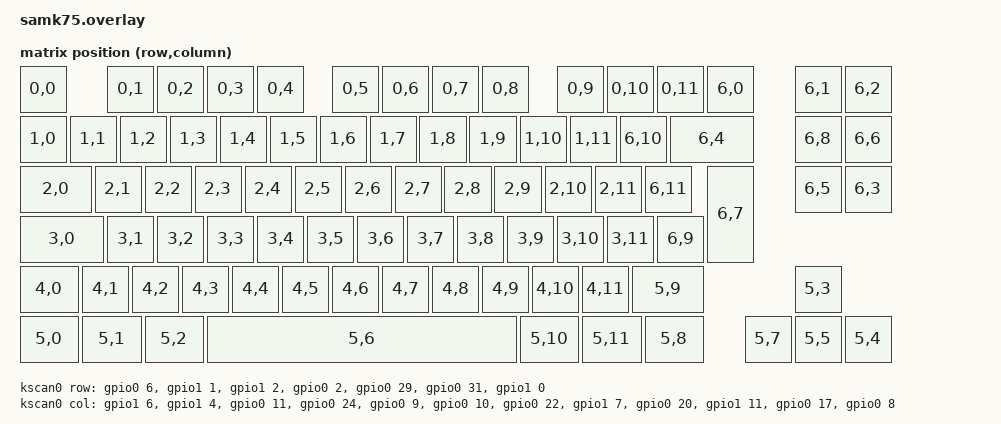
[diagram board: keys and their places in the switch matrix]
/*
 * Copyright (c) 2020 The ZMK Contributors
 *
 * SPDX-License-Identifier: MIT
 */

#include <dt-bindings/zmk/matrix_transform.h>

//#include <layouts/common/75percent/iso.dtsi>
#include <physical_layouts.dtsi>

/ {
    chosen {
        zmk,kscan = &kscan0;
        zmk,physical-layout = &physical_layout0;
    };

    kscan0: kscan {
        compatible = "zmk,kscan-gpio-matrix";
        wakeup-source;

        diode-direction = "row2col";
        row-gpios
            = <&gpio0 6 GPIO_ACTIVE_HIGH>
            , <&gpio1 1 GPIO_ACTIVE_HIGH>
            , <&gpio1 2 GPIO_ACTIVE_HIGH>
            , <&gpio0 2 GPIO_ACTIVE_HIGH>
            , <&gpio0 29 GPIO_ACTIVE_HIGH>
            , <&gpio0 31 GPIO_ACTIVE_HIGH>
            , <&gpio1 0 GPIO_ACTIVE_HIGH>
            ;
        col-gpios
            = <&gpio1 6 (GPIO_ACTIVE_HIGH | GPIO_PULL_DOWN)>
            , <&gpio1 4 (GPIO_ACTIVE_HIGH | GPIO_PULL_DOWN)>
            , <&gpio0 11 (GPIO_ACTIVE_HIGH | GPIO_PULL_DOWN)>
            , <&gpio0 24 (GPIO_ACTIVE_HIGH | GPIO_PULL_DOWN)>
            , <&gpio0 9 (GPIO_ACTIVE_HIGH | GPIO_PULL_DOWN)>
            , <&gpio0 10 (GPIO_ACTIVE_HIGH | GPIO_PULL_DOWN)>
            , <&gpio0 22 (GPIO_ACTIVE_HIGH | GPIO_PULL_DOWN)>
            , <&gpio1 7 (GPIO_ACTIVE_HIGH | GPIO_PULL_DOWN)>
            , <&gpio0 20 (GPIO_ACTIVE_HIGH | GPIO_PULL_DOWN)>
            , <&gpio1 11 (GPIO_ACTIVE_HIGH | GPIO_PULL_DOWN)>
            , <&gpio0 17 (GPIO_ACTIVE_HIGH | GPIO_PULL_DOWN)>
            , <&gpio0 8 (GPIO_ACTIVE_HIGH | GPIO_PULL_DOWN)>
            ;
    };

    default_transform: keymap_transform_0 {
        compatible = "zmk,matrix-transform";
        columns = <12>;
        rows = <7>;
        map = <
RC(0,0)   RC(0,1) RC(0,2) RC(0,3) RC(0,4)     RC(0,5) RC(0,6) RC(0,7) RC(0,8)     RC(0,9) RC(0,10) RC(0,11) RC(6,0)    RC(6,1) RC(6,2)
RC(1,0)   RC(1,1) RC(1,2) RC(1,3) RC(1,4) RC(1,5) RC(1,6) RC(1,7) RC(1,8) RC(1,9) RC(1,10) RC(1,11) RC(6,10) RC(6,4)   RC(6,8) RC(6,6)
RC(2,0)   RC(2,1) RC(2,2) RC(2,3) RC(2,4) RC(2,5) RC(2,6) RC(2,7) RC(2,8) RC(2,9) RC(2,10) RC(2,11) RC(6,11)           RC(6,5) RC(6,3)
RC(3,0)   RC(3,1) RC(3,2) RC(3,3) RC(3,4) RC(3,5) RC(3,6) RC(3,7) RC(3,8) RC(3,9) RC(3,10) RC(3,11) RC(6,9)   RC(6,7)
RC(4,0)   RC(4,1) RC(4,2) RC(4,3) RC(4,4) RC(4,5) RC(4,6) RC(4,7) RC(4,8) RC(4,9) RC(4,10) RC(4,11) RC(5,9)            RC(5,3)
RC(5,0)   RC(5,1)   RC(5,2)                      RC(5,6)                      RC(5,10)   RC(5,11)   RC(5,8)    RC(5,7) RC(5,5) RC(5,4)
        >;
    };

    physical_layout0: physical_layout_0 {
        compatible = "zmk,physical-layout";
        display-name = "Samk75 ISO";

        kscan = <&kscan0>;
        transform = <&default_transform>;

        keys  //                     w   h    x    y     rot    rx    ry
            = <&key_physical_attrs 100 100    0    0       0     0     0>
            , <&key_physical_attrs 100 100  175    0       0     0     0>
            , <&key_physical_attrs 100 100  275    0       0     0     0>
            , <&key_physical_attrs 100 100  375    0       0     0     0>
            , <&key_physical_attrs 100 100  475    0       0     0     0>
            , <&key_physical_attrs 100 100  625    0       0     0     0>
            , <&key_physical_attrs 100 100  725    0       0     0     0>
            , <&key_physical_attrs 100 100  825    0       0     0     0>
            , <&key_physical_attrs 100 100  925    0       0     0     0>
            , <&key_physical_attrs 100 100 1075    0       0     0     0>
            , <&key_physical_attrs 100 100 1175    0       0     0     0>
            , <&key_physical_attrs 100 100 1275    0       0     0     0>
            , <&key_physical_attrs 100 100 1375    0       0     0     0>
            , <&key_physical_attrs 100 100 1550    0       0     0     0>
            , <&key_physical_attrs 100 100 1650    0       0     0     0>
            , <&key_physical_attrs 100 100    0  100       0     0     0>
            , <&key_physical_attrs 100 100  100  100       0     0     0>
            , <&key_physical_attrs 100 100  200  100       0     0     0>
            , <&key_physical_attrs 100 100  300  100       0     0     0>
            , <&key_physical_attrs 100 100  400  100       0     0     0>
            , <&key_physical_attrs 100 100  500  100       0     0     0>
            , <&key_physical_attrs 100 100  600  100       0     0     0>
            , <&key_physical_attrs 100 100  700  100       0     0     0>
            , <&key_physical_attrs 100 100  800  100       0     0     0>
            , <&key_physical_attrs 100 100  900  100       0     0     0>
            , <&key_physical_attrs 100 100 1000  100       0     0     0>
            , <&key_physical_attrs 100 100 1100  100       0     0     0>
            , <&key_physical_attrs 100 100 1200  100       0     0     0>
            , <&key_physical_attrs 175 100 1300  100       0     0     0>
            , <&key_physical_attrs 100 100 1550  100       0     0     0>
            , <&key_physical_attrs 100 100 1650  100       0     0     0>
            , <&key_physical_attrs 150 100    0  200       0     0     0>
            , <&key_physical_attrs 100 100  150  200       0     0     0>
            , <&key_physical_attrs 100 100  250  200       0     0     0>
            , <&key_physical_attrs 100 100  350  200       0     0     0>
            , <&key_physical_attrs 100 100  450  200       0     0     0>
            , <&key_physical_attrs 100 100  550  200       0     0     0>
            , <&key_physical_attrs 100 100  650  200       0     0     0>
            , <&key_physical_attrs 100 100  750  200       0     0     0>
            , <&key_physical_attrs 100 100  850  200       0     0     0>
            , <&key_physical_attrs 100 100  950  200       0     0     0>
            , <&key_physical_attrs 100 100 1050  200       0     0     0>
            , <&key_physical_attrs 100 100 1150  200       0     0     0>
            , <&key_physical_attrs 100 100 1250  200       0     0     0>
            , <&key_physical_attrs 100 100 1550  200       0     0     0>
            , <&key_physical_attrs 100 100 1650  200       0     0     0>
            , <&key_physical_attrs 175 100    0  300       0     0     0>
            , <&key_physical_attrs 100 100  175  300       0     0     0>
            , <&key_physical_attrs 100 100  275  300       0     0     0>
            , <&key_physical_attrs 100 100  375  300       0     0     0>
            , <&key_physical_attrs 100 100  475  300       0     0     0>
            , <&key_physical_attrs 100 100  575  300       0     0     0>
            , <&key_physical_attrs 100 100  675  300       0     0     0>
            , <&key_physical_attrs 100 100  775  300       0     0     0>
            , <&key_physical_attrs 100 100  875  300       0     0     0>
            , <&key_physical_attrs 100 100  975  300       0     0     0>
            , <&key_physical_attrs 100 100 1075  300       0     0     0>
            , <&key_physical_attrs 100 100 1175  300       0     0     0>
            , <&key_physical_attrs 100 100 1275  300       0     0     0>
            , <&key_physical_attrs 100 200 1375  200       0     0     0>
            , <&key_physical_attrs 125 100    0  400       0     0     0>
            , <&key_physical_attrs 100 100  125  400       0     0     0>
            , <&key_physical_attrs 100 100  225  400       0     0     0>
            , <&key_physical_attrs 100 100  325  400       0     0     0>
            , <&key_physical_attrs 100 100  425  400       0     0     0>
            , <&key_physical_attrs 100 100  525  400       0     0     0>
            , <&key_physical_attrs 100 100  625  400       0     0     0>
            , <&key_physical_attrs 100 100  725  400       0     0     0>
            , <&key_physical_attrs 100 100  825  400       0     0     0>
            , <&key_physical_attrs 100 100  925  400       0     0     0>
            , <&key_physical_attrs 100 100 1025  400       0     0     0>
            , <&key_physical_attrs 100 100 1125  400       0     0     0>
            , <&key_physical_attrs 150 100 1225  400       0     0     0>
            , <&key_physical_attrs 100 100 1550  400       0     0     0>
            , <&key_physical_attrs 125 100    0  500       0     0     0>
            , <&key_physical_attrs 125 100  125  500       0     0     0>
            , <&key_physical_attrs 125 100  250  500       0     0     0>
            , <&key_physical_attrs 625 100  375  500       0     0     0>
            , <&key_physical_attrs 125 100 1000  500       0     0     0>
            , <&key_physical_attrs 125 100 1125  500       0     0     0>
            , <&key_physical_attrs 125 100 1250  500       0     0     0>
            , <&key_physical_attrs 100 100 1450  500       0     0     0>
            , <&key_physical_attrs 100 100 1550  500       0     0     0>
            , <&key_physical_attrs 100 100 1650  500       0     0     0>
            ;
    };
};


